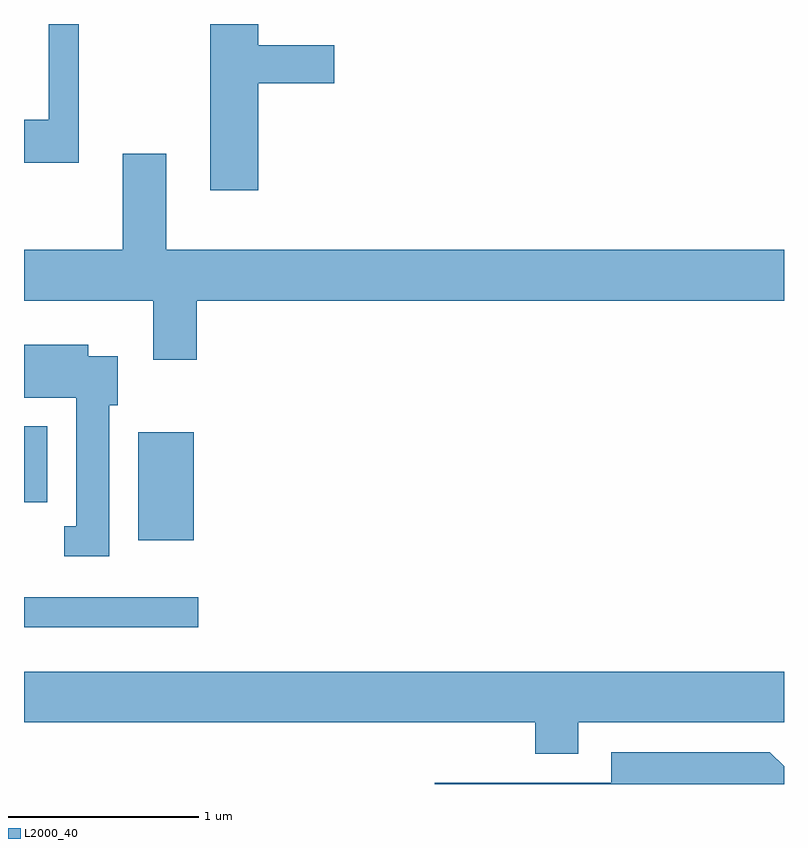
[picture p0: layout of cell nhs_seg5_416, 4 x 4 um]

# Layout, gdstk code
import gdstk
lib = gdstk.Library(unit=1e-6, precision=1e-09)
def R(c, l, rs):  # rectangles x0, y0, x1, y1
    for r in rs: c.add(gdstk.rectangle(r[:2], r[2:], *l))
def P(c, l, *ps):  # polygons
    for p in ps: c.add(gdstk.Polygon(p, *l))
L2000_40 = (2000, 40)

nhs_seg5_416 = lib.new_cell('nhs_seg5_416')
R(nhs_seg5_416, L2000_40, [(197.611,1412.896,198.528,1413.054), (198.211,1413.356,198.504,1413.924), (197.611,1413.556,197.734,1413.954)])
P(nhs_seg5_416, L2000_40, [(198.844,1415.761),(199.244,1415.761),(199.244,1415.959),(198.844,1415.959),(198.844,1416.072),(198.591,1416.072),(198.591,1415.196),(198.844,1415.196)],
  [(197.899,1416.072),(197.741,1416.072),(197.741,1415.569),(197.611,1415.569),(197.611,1415.341),(197.899,1415.341)],
  [(198.519,1414.616),(201.611,1414.616),(201.611,1414.884),(198.359,1414.884),(198.359,1415.389),(198.131,1415.389),(198.131,1414.884),(197.611,1414.884),(197.611,1414.616),(198.291,1414.616),(198.291,1414.306),(198.519,1414.306)],
  [(198.059,1414.066),(198.104,1414.066),(198.104,1414.324),(197.949,1414.324),(197.949,1414.384),(197.611,1414.384),(197.611,1414.106),(197.886,1414.106),(197.886,1413.429),(197.823,1413.429),(197.823,1413.271),(198.059,1413.271)],
  [(200.529,1412.396),(201.611,1412.396),(201.611,1412.664),(197.611,1412.664),(197.611,1412.396),(200.301,1412.396),(200.301,1412.231),(200.529,1412.231)],
  [(201.611,1412.165),(201.537,1412.239),(200.701,1412.239),(200.701,1412.079),(199.773,1412.079),(199.773,1412.072),(201.611,1412.072)])

lib.write_gds('nhs_seg5_416.gds')
